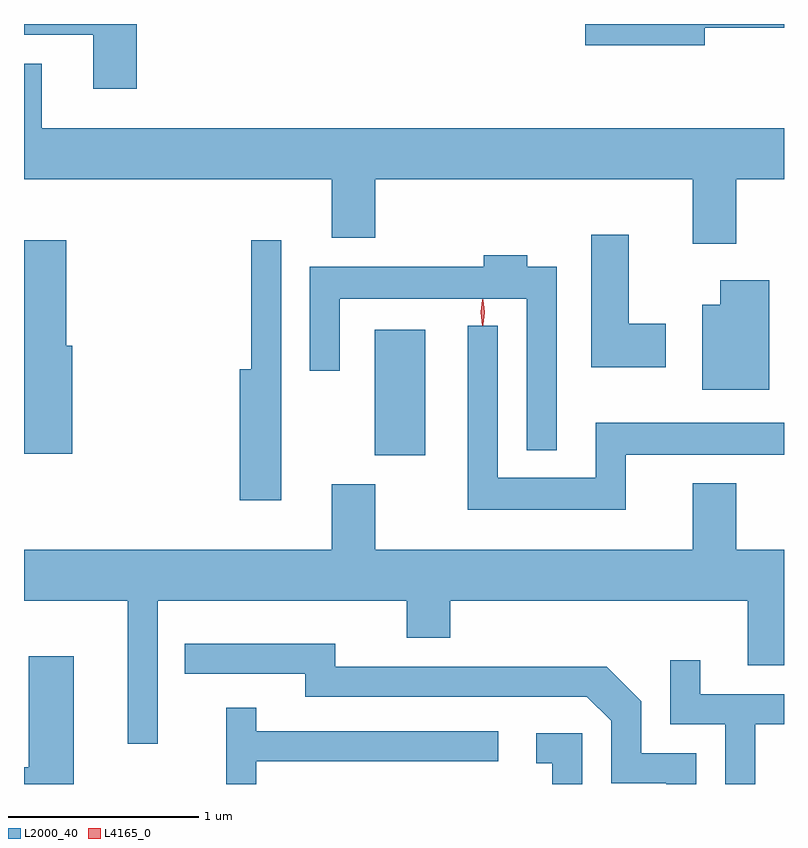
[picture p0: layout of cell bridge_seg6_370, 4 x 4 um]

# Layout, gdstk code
import gdstk
lib = gdstk.Library(unit=1e-6, precision=1e-09)
def R(c, l, rs):  # rectangles x0, y0, x1, y1
    for r in rs: c.add(gdstk.rectangle(r[:2], r[2:], *l))
def P(c, l, *ps):  # polygons
    for p in ps: c.add(gdstk.Polygon(p, *l))
L2000_40 = (2000, 40)
L4165_0 = (4165, 0)

bridge_seg6_370 = lib.new_cell('bridge_seg6_370')
R(bridge_seg6_370, L2000_40, [(984.866,1652.921,985.134,1653.584)])
P(bridge_seg6_370, L2000_40, [(983.614,1655.192),(983.021,1655.192),(983.021,1655.136),(983.386,1655.136),(983.386,1654.851),(983.614,1654.851)],
  [(986.604,1655.171),(987.021,1655.171),(987.021,1655.192),(985.976,1655.192),(985.976,1655.081),(986.604,1655.081)],
  [(983.114,1654.984),(983.021,1654.984),(983.021,1654.376),(984.641,1654.376),(984.641,1654.066),(984.869,1654.066),(984.869,1654.376),(986.541,1654.376),(986.541,1654.036),(986.769,1654.036),(986.769,1654.376),(987.021,1654.376),(987.021,1654.644),(983.114,1654.644)],
  [(986.399,1653.614),(986.204,1653.614),(986.204,1654.084),(986.006,1654.084),(986.006,1653.386),(986.399,1653.386)],
  [(983.274,1653.499),(983.244,1653.499),(983.244,1654.054),(983.021,1654.054),(983.021,1652.931),(983.274,1652.931)],
  [(984.374,1654.053),(984.216,1654.053),(984.216,1653.374),(984.156,1653.374),(984.156,1652.686),(984.374,1652.686)],
  [(985.824,1653.914),(985.669,1653.914),(985.669,1653.974),(985.441,1653.974),(985.441,1653.914),(984.526,1653.914),(984.526,1653.368),(984.684,1653.368),(984.684,1653.746),(985.666,1653.746),(985.666,1652.948),(985.824,1652.948)],
  [(986.944,1653.844),(986.686,1653.844),(986.686,1653.714),(986.591,1653.714),(986.591,1653.266),(986.944,1653.266)],
  [(986.189,1652.926),(987.021,1652.926),(987.021,1653.094),(986.031,1653.094),(986.031,1652.804),(985.514,1652.804),(985.514,1653.603),(985.356,1653.603),(985.356,1652.636),(986.189,1652.636)],
  [(983.724,1652.156),(985.036,1652.156),(985.036,1651.961),(985.264,1651.961),(985.264,1652.156),(986.831,1652.156),(986.831,1651.816),(987.021,1651.816),(987.021,1652.424),(986.769,1652.424),(986.769,1652.774),(986.541,1652.774),(986.541,1652.424),(984.869,1652.424),(984.869,1652.769),(984.641,1652.769),(984.641,1652.424),(983.021,1652.424),(983.021,1652.156),(983.566,1652.156),(983.566,1651.403),(983.724,1651.403)],
  [(986.559,1651.354),(986.269,1651.354),(986.269,1651.627),(986.087,1651.809),(984.659,1651.809),(984.659,1651.929),(983.868,1651.929),(983.868,1651.771),(984.501,1651.771),(984.501,1651.651),(985.984,1651.651),(986.111,1651.524),(986.111,1651.196),(986.401,1651.196),(986.401,1651.192),(986.559,1651.192)],
  [(983.284,1651.864),(983.046,1651.864),(983.046,1651.279),(983.021,1651.279),(983.021,1651.192),(983.284,1651.192)],
  [(986.869,1651.506),(987.021,1651.506),(987.021,1651.664),(986.579,1651.664),(986.579,1651.843),(986.421,1651.843),(986.421,1651.506),(986.711,1651.506),(986.711,1651.192),(986.869,1651.192)],
  [(984.244,1651.311),(985.518,1651.311),(985.518,1651.469),(984.244,1651.469),(984.244,1651.593),(984.086,1651.593),(984.086,1651.192),(984.244,1651.192)],
  [(985.959,1651.459),(985.718,1651.459),(985.718,1651.301),(985.801,1651.301),(985.801,1651.192),(985.959,1651.192)])
P(bridge_seg6_370, L4165_0, [(985.434,1653.604),(985.425,1653.674),(985.434,1653.742),(985.435,1653.743),(985.435,1653.742),(985.445,1653.674),(985.435,1653.604),(985.435,1653.604)],
  [(985.438,1653.607),(985.437,1653.608),(985.428,1653.674),(985.437,1653.74),(985.437,1653.74),(985.438,1653.74),(985.447,1653.674),(985.438,1653.608)])

lib.write_gds('bridge_seg6_370.gds')
